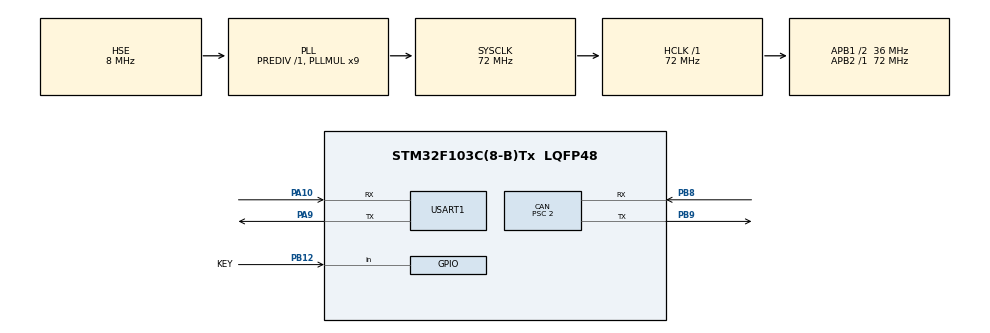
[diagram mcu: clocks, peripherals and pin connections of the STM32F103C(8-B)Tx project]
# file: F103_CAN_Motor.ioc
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CAN.ABOM=ENABLE
CAN.BS1=CAN_BS1_14TQ
CAN.BS2=CAN_BS2_3TQ
CAN.CalculateBaudRate=1000000
CAN.CalculateTimeBit=1000
CAN.CalculateTimeQuantum=55.55555555555556
CAN.NART=ENABLE
CAN.Prescaler=2
Mcu.Family=STM32F1
Mcu.Name=STM32F103C(8-B)Tx
Mcu.Package=LQFP48
NVIC.PriorityGroup=NVIC_PRIORITYGROUP_4
NVIC.USB_HP_CAN1_TX_IRQn=true\:0\:0\:false\:false\:true\:true\:true\:true
NVIC.USB_LP_CAN1_RX0_IRQn=true\:0\:0\:false\:false\:true\:true\:true\:true
PA10.Mode=Asynchronous
PA10.Signal=USART1_RX
PA9.Mode=Asynchronous
PA9.Signal=USART1_TX
PB12.GPIO_Label=KEY
PB12.GPIO_PuPd=GPIO_PULLUP
PB12.Signal=GPIO_Input
PB8.Mode=CAN_Activate
PB8.Signal=CAN_RX
PB9.Mode=CAN_Activate
PB9.Signal=CAN_TX
PD0-OSC_IN.Mode=HSE-External-Oscillator
PD0-OSC_IN.Signal=RCC_OSC_IN
PD1-OSC_OUT.Mode=HSE-External-Oscillator
PD1-OSC_OUT.Signal=RCC_OSC_OUT
ProjectManager.HeapSize=0x200
ProjectManager.StackSize=0x400
ProjectManager.TargetToolchain=STM32CubeIDE
RCC.AHBFreq_Value=72000000
RCC.APB1CLKDivider=RCC_HCLK_DIV2
RCC.APB1Freq_Value=36000000
RCC.APB1TimFreq_Value=72000000
RCC.APB2Freq_Value=72000000
RCC.APB2TimFreq_Value=72000000
RCC.HCLKFreq_Value=72000000
RCC.PLLMUL=RCC_PLL_MUL9
RCC.PLLSourceVirtual=RCC_PLLSOURCE_HSE
RCC.SYSCLKFreq_VALUE=72000000
RCC.SYSCLKSource=RCC_SYSCLKSOURCE_PLLCLK
RCC.USBFreq_Value=72000000
USART1.VirtualMode=VM_ASYNC
VP_SYS_VS_ND.Mode=No_Debug
board=custom

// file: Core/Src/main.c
/* USER CODE BEGIN Header */
/**
  ******************************************************************************
  * @file           : main.c
  * @brief          : Main program body
  ******************************************************************************
  * @attention
  *
  * Copyright (c) 2023 STMicroelectronics.
  * All rights reserved.
  *
  * This software is licensed under terms that can be found in the LICENSE file
  * in the root directory of this software component.
  * If no LICENSE file comes with this software, it is provided AS-IS.
  *
  ******************************************************************************
  */
/* USER CODE END Header */
#include "main.h"
#include "can.h"
#include "usart.h"
#include "gpio.h"

/* USER CODE BEGIN Includes */
#include <stdio.h>
#include <string.h>
/* USER CODE END Includes */

void SystemClock_Config(void);

/* USER CODE BEGIN 0 */
// this function is for can callback
uint16_t ecd;
uint16_t last_ecd;
uint16_t speed_rpm;
uint16_t given_current;
uint16_t temperate;
void RxFIFO0MessagePendingCallback(CAN_HandleTypeDef *hcan)
{
    CAN_RxHeaderTypeDef rx_header;
    uint8_t rx_data[8];

    HAL_CAN_GetRxMessage(hcan, CAN_RX_FIFO0, &rx_header, rx_data);

    switch (rx_header.StdId)
    {
        case 0x201:
        {
            last_ecd = ecd;
            ecd = (uint16_t)rx_data[0]<<8|rx_data[1];
            speed_rpm = (uint16_t)rx_data[2]<<8|rx_data[3];
            given_current = (uint16_t)rx_data[4]<<8|rx_data[5];
            temperate = (uint16_t)rx_data[6];

            break;
        }
        default:
        {
            break;
        }
    }
}
/* USER CODE END 0 */

int main(void)
{

  /* MCU Configuration--------------------------------------------------------*/

  /* Reset of all peripherals, Initializes the Flash interface and the Systick. */
  HAL_Init();

  /* Configure the system clock */
  SystemClock_Config();

  /* Initialize all configured peripherals */
  MX_GPIO_Init();
  MX_CAN_Init();
  MX_USART1_UART_Init();
  /* USER CODE BEGIN 2 */

  CAN_FilterTypeDef filter;
  filter.FilterIdHigh = 0x0000;
  filter.FilterIdLow = 0x0000;
  filter.FilterMaskIdHigh = 0x0000;
  filter.FilterMaskIdLow = 0x0000;
  filter.FilterFIFOAssignment = CAN_FILTER_FIFO0;
  filter.FilterMode = CAN_FILTERMODE_IDMASK;
  filter.FilterScale = CAN_FILTERSCALE_32BIT;
  filter.FilterActivation = ENABLE;
  filter.SlaveStartFilterBank = 14;  // CAN1 and CAN2 split all 28 filters
  filter.FilterBank = 0;  // Master CAN get filter 0-13
  HAL_CAN_ConfigFilter(&hcan,&filter);
  // Configure the filter.
  HAL_CAN_RegisterCallback(&hcan, HAL_CAN_RX_FIFO0_MSG_PENDING_CB_ID,RxFIFO0MessagePendingCallback);
    HAL_CAN_ActivateNotification(&hcan, CAN_IT_RX_FIFO0_MSG_PENDING);
  // Register the callback.
  HAL_CAN_Start(&hcan);

  /* USER CODE END 2 */

  /* Infinite loop */
  /* USER CODE BEGIN WHILE */
  HAL_Delay(1000);
  char print_buffer[100];
  while (1)
  {
      uint32_t can_id = 0x200;
      CAN_TxHeaderTypeDef header = {
              .StdId = can_id,
              .ExtId = 0x0,  // don't care since we use standard id mode
              .IDE = CAN_ID_STD,
              .RTR = CAN_RTR_DATA,
              .DLC = 8, // the length of data
              .TransmitGlobalTime = DISABLE,
      };
      uint8_t can_data[8] = {0x10, 0x02, 0x00,0x00,0x00,0x00,0x00,0x00};
      // check the status of the key
      if (HAL_GPIO_ReadPin(KEY_GPIO_Port, KEY_Pin) == GPIO_PIN_RESET) {
          can_data[0]=0x08;
          can_data[1]=0x02;
      }
      else{
          can_data[0]=0x00;
          can_data[1]=0x00;
      }
      // the can data refer to the manual of the motor
      uint32_t mailbox;
      // the mailbox that is used to send the message, it is not important, just a number
      // it can be used to check if the message is sent successfully
      HAL_CAN_AddTxMessage(&hcan, &header, (uint8_t*)can_data, &mailbox);
      // send the message
      // while(HAL_CAN_IsTxMessagePending(&hcan, mailbox));
      // check if the message is sent successfully
      sniprintf(print_buffer,99,"ECD: %d RPM: %d CUR: %d TEMP:%d \r\n",ecd,speed_rpm,given_current,temperate);
      HAL_UART_Transmit(&huart1,print_buffer,strlen(print_buffer),50);
      HAL_Delay(20);

    /* USER CODE END WHILE */

  }
}

void SystemClock_Config(void)
{
  RCC_OscInitTypeDef RCC_OscInitStruct = {0};
  RCC_ClkInitTypeDef RCC_ClkInitStruct = {0};

  /** Initializes the RCC Oscillators according to the specified parameters
  * in the RCC_OscInitTypeDef structure.
  */
  RCC_OscInitStruct.OscillatorType = RCC_OSCILLATORTYPE_HSE;
  RCC_OscInitStruct.HSEState = RCC_HSE_ON;
  RCC_OscInitStruct.HSEPredivValue = RCC_HSE_PREDIV_DIV1;
  RCC_OscInitStruct.HSIState = RCC_HSI_ON;
  RCC_OscInitStruct.PLL.PLLState = RCC_PLL_ON;
  RCC_OscInitStruct.PLL.PLLSource = RCC_PLLSOURCE_HSE;
  RCC_OscInitStruct.PLL.PLLMUL = RCC_PLL_MUL9;
  if (HAL_RCC_OscConfig(&RCC_OscInitStruct) != HAL_OK)
  {
    Error_Handler();
  }

  /** Initializes the CPU, AHB and APB buses clocks
  */
  RCC_ClkInitStruct.ClockType = RCC_CLOCKTYPE_HCLK|RCC_CLOCKTYPE_SYSCLK
                              |RCC_CLOCKTYPE_PCLK1|RCC_CLOCKTYPE_PCLK2;
  RCC_ClkInitStruct.SYSCLKSource = RCC_SYSCLKSOURCE_PLLCLK;
  RCC_ClkInitStruct.AHBCLKDivider = RCC_SYSCLK_DIV1;
  RCC_ClkInitStruct.APB1CLKDivider = RCC_HCLK_DIV2;
  RCC_ClkInitStruct.APB2CLKDivider = RCC_HCLK_DIV1;

  if (HAL_RCC_ClockConfig(&RCC_ClkInitStruct, FLASH_LATENCY_2) != HAL_OK)
  {
    Error_Handler();
  }
}

void Error_Handler(void)
{
  __disable_irq();
  while (1)
  {
  }
}
